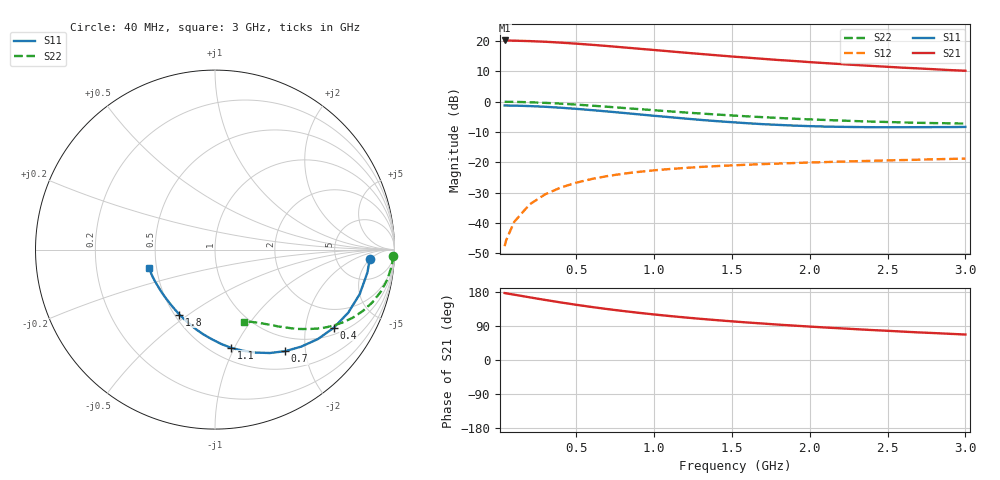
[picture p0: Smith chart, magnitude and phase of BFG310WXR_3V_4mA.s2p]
! Filename: 34BFG310WXR.s2p
! Title: BFG310WXR,RN20042071,Lot:TT3082,B:X1104,Sl.:3
! Bias: VCE=2.999V; IC=3.999mA;
! Company: Philips Semiconductors NL
! User: Q&R DSC-N
! Measure time: 29 Mar 2004 / 13:21:40
#  MHz  S  MA  R 50
! Freq  S11  S21  S12  S22  :
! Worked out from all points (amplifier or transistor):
!   32 points, 40 MHz to 3 GHz, reference 50 ohm
!   highest |S21| = 20.1 dB at 40 MHz (marker M1)
!   |S21| within 3 dB of that: start of sweep to 967.4 MHz
!   unconditionally stable (mu >= 1): nowhere
!   at 400 MHz: K = 0.21, MSG = 23.9 dB, |S12| = -28.3 dB
!   at 1.5 GHz: K = 0.65, MSG = 17.9 dB, |S12| = -21.0 dB
!   at 3 GHz: K = 0.97, MSG = 14.5 dB, |S12| = -18.8 dB
!   S11 on the Smith chart (normalised r, x): 40 MHz: 12, -5; 400 MHz: 1.23, -2.87; 700 MHz: 0.76, -1.64; 1.1 GHz: 0.61, -0.97; 1.8 GHz: 0.53, -0.46; 3 GHz: 0.45, -0.11
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40  0.8627 -3.4  10.17 176.7  0.004148 88.0  0.9938 -1.9
50  0.8627 -4.3  10.14 175.9  0.005183 87.2  0.9934 -2.4
100  0.8586 -8.6  10.09 172.5  0.01031 84.6  0.9897 -4.9
200  0.8436 -17.1  9.918 165.4  0.02018 79.4  0.9756 -9.7
300  0.8214 -25.3  9.681 158.5  0.0296 74.6  0.953 -14.3
400  0.7924 -33.3  9.362 151.9  0.03828 70.0  0.9245 -18.6
500  0.7595 -41.0  9.002 145.7  0.04611 66.0  0.8919 -22.6
600  0.7231 -48.4  8.627 139.8  0.05306 62.2  0.8573 -26.2
700  0.6876 -55.4  8.23 134.4  0.05923 58.8  0.8218 -29.5
800  0.6519 -62.1  7.827 129.3  0.0647 55.8  0.7863 -32.5
900  0.6163 -68.5  7.441 124.6  0.06942 53.2  0.7525 -35.2
1000  0.5835 -74.8  7.081 120.2  0.07367 50.8  0.7208 -37.6
1100  0.554 -80.8  6.728 116.1  0.07742 48.7  0.6899 -39.9
1200  0.5254 -86.6  6.393 112.3  0.08072 46.9  0.6614 -42.0
1300  0.499 -92.2  6.087 108.6  0.08378 45.3  0.6362 -44.0
1500  0.4575 -103.1  5.528 102.0  0.08887 42.8  0.5907 -47.4
1600  0.4398 -108.3  5.293 99.0  0.0912 41.6  0.5707 -49.1
1800  0.4128 -118.7  4.841 93.3  0.09524 40.0  0.5374 -52.0
2100  0.3876 -132.9  4.303 85.7  0.1008 38.2  0.4977 -56.2
2400  0.3785 -145.3  3.869 79.0  0.1057 37.0  0.4682 -60.2
2600  0.378 -152.7  3.616 74.9  0.1088 36.5  0.4536 -62.7
3000  0.3823 -164.8  3.223 67.2  0.1151 35.5  0.4339 -68.0
